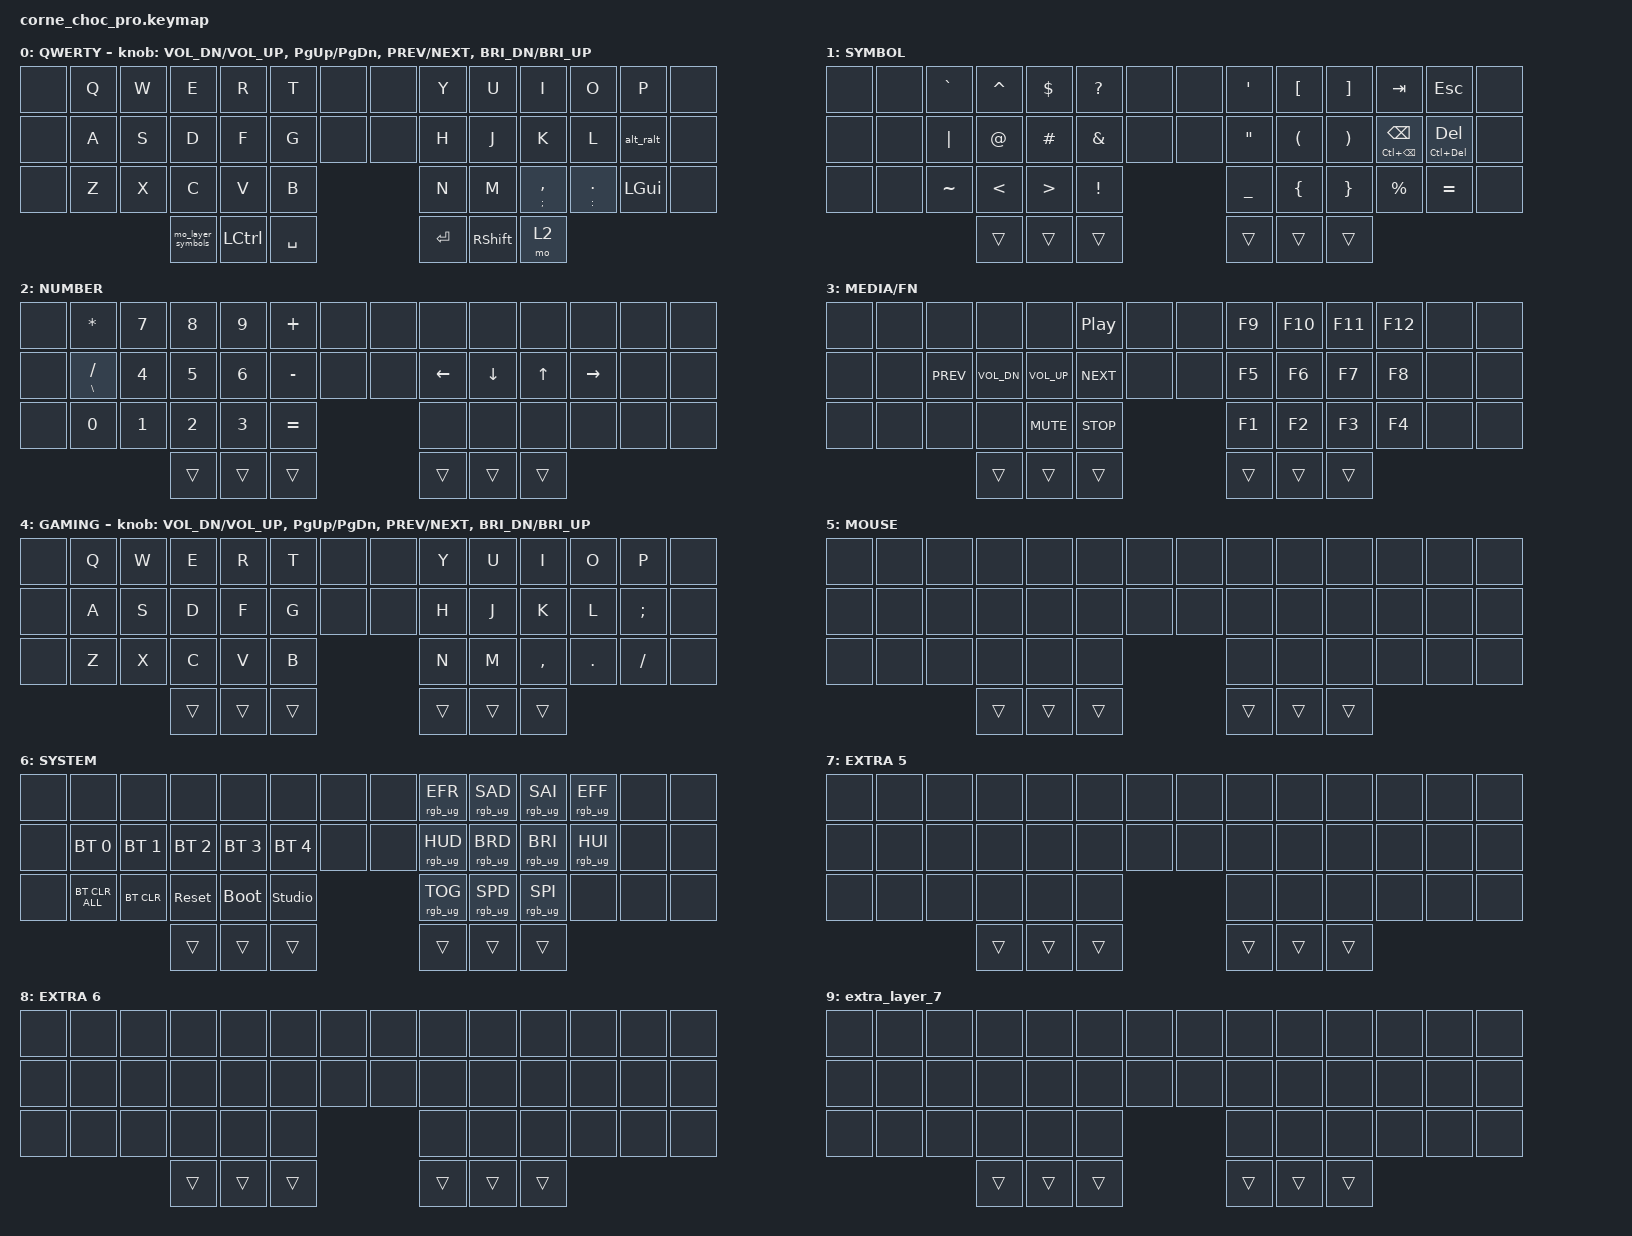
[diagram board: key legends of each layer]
/*
 * Copyright (c) 2020 The ZMK Contributors
 *
 * SPDX-License-Identifier: MIT
 */

#include <behaviors.dtsi>
#include <dt-bindings/zmk/bt.h>
#include <dt-bindings/zmk/keys.h>
#include <dt-bindings/zmk/rgb.h>

/ {
    chosen { zmk,physical-layout = &default_layout; };
};

/ {
    combos {
        compatible = "zmk,combos";

        tgl_layer_0 {
            bindings = <&to 0>;
            key-positions = <34 40 45>;
            layers = <0 1 2 3 4 5 6 7 8 9>;
        };

        tgl_layer_1 {
            bindings = <&to 1>;
            key-positions = <35 40 45>;
            layers = <0 1 2 3 4 5 6 7 8 9>;
        };

        tgl_layer_2 {
            bindings = <&to 2>;
            key-positions = <36 40 45>;
            layers = <0 1 2 3 4 5 6 7 8 9>;
        };

        tgl_layer_3 {
            bindings = <&to 3>;
            key-positions = <37 40 45>;
            layers = <0 1 2 3 4 5 6 7 8 9>;
        };

        tgl_layer_4 {
            bindings = <&to 4>;
            key-positions = <23 40 45>;
            layers = <0 1 2 3 4 5 6 7 8 9>;
        };

        tgl_layer_5 {
            bindings = <&to 5>;
            key-positions = <24 40 45>;
            layers = <0 1 2 3 4 5 6 7 8 9>;
        };

        tgl_layer_6 {
            bindings = <&to 6>;
            key-positions = <25 40 45>;
            layers = <0 1 2 3 4 5 6 7 8 9>;
        };

        tgl_layer_7 {
            bindings = <&to 7>;
            key-positions = <9 40 45>;
            layers = <0 1 2 3 4 5 6 7 8 9>;
        };

        tgl_layer_8 {
            bindings = <&to 8>;
            key-positions = <10 40 45>;
            layers = <0 1 2 3 4 5 6 7 8 9>;
        };

        tgl_layer_9 {
            bindings = <&to 9>;
            key-positions = <11 40 45>;
            layers = <0 1 2 3 4 5 6 7 8 9>;
        };

        esc {
            bindings = <&kp ESCAPE>;
            key-positions = <0 14>;
            layers = <0 1 2 3 4 5 6 7 8 9>;
            timeout-ms = <30>;
        };

        tab {
            bindings = <&kp TAB>;
            key-positions = <14 28>;
            layers = <0 1 2 3 4 5 6 7 8 9>;
            timeout-ms = <30>;
        };

        del_ctrl-deln {
            bindings = <&mt LC(DELETE) DELETE>;
            key-positions = <27 13>;
            layers = <0 1 2 3 4 5 6 7 8 9>;
            timeout-ms = <30>;
        };

        bckspc_ctrl-bckspc {
            bindings = <&mt LC(BACKSPACE) BACKSPACE>;
            key-positions = <27 39>;
            layers = <0 1 2 3 4 5 6 7 8 9>;
            timeout-ms = <30>;
        };
    };

    behaviors {
        alt_ralt: alt_ralt {
            compatible = "zmk,behavior-tap-dance";
            label = "ALT_RALT";
            #binding-cells = <0>;
            bindings = <&sk LEFT_ALT>, <&sk RIGHT_ALT>;

            tapping-term-ms = <400>;
        };

        mo_layer_symbols: mo_layer_symbols {
            compatible = "zmk,behavior-tap-dance";
            label = "MO_LAYER_SYMBOLS";
            #binding-cells = <0>;
            bindings = <&mo 1>, <&to 0>;

            tapping-term-ms = <400>;
        };

        h_left: h_left {
            compatible = "zmk,behavior-mod-morph";
            label = "H_LEFT";
            bindings = <&kp H>, <&kp LEFT_ARROW>;

            #binding-cells = <0>;
            mods = <(MOD_LCTL)>;
        };

        j_down: j_down {
            compatible = "zmk,behavior-mod-morph";
            label = "J_DOWN";
            bindings = <&kp J>, <&kp DOWN_ARROW>;

            #binding-cells = <0>;
            mods = <(MOD_LCTL)>;
        };

        k_up: k_up {
            compatible = "zmk,behavior-mod-morph";
            label = "K_UP";
            bindings = <&kp K>, <&kp UP_ARROW>;

            #binding-cells = <0>;
            mods = <(MOD_LCTL)>;
        };

        l_right: l_right {
            compatible = "zmk,behavior-mod-morph";
            label = "L_RIGHT";
            bindings = <&kp L>, <&kp RIGHT>;

            #binding-cells = <0>;
            mods = <(MOD_LCTL)>;
        };
    };

    keymap {
        compatible = "zmk,keymap";

        default_layer {
            display-name = "QWERTY";

            // --------------------------------------------------------------------------------
            // |  TAB |  Q  |  W  |  E  |  R  |  T  |  MUTE |  PP   |  Y  |  U   |  I  |  O  |  P  | BSPC |
            // | CTRL |  A  |  S  |  D  |  F  |  G  |  LALT |  RALT |  H  |  J   |  K  |  L  |  ;  |  '   |
            // | SHFT |  Z  |  X  |  C  |  V  |  B  |               |  N  |  M   |  ,  |  .  |  /  | ESC  |
            //                    | GUI | LWR | SPC |               | ENT | RSE  | ALT |

            bindings = <
&none  &kp Q  &kp W  &kp E              &kp R      &kp T      &none  &none  &kp Y    &kp U            &kp I                &kp O             &kp P         &none
&none  &kp A  &kp S  &kp D              &kp F      &kp G      &none  &none  &kp H    &kp J            &kp K                &kp L             &alt_ralt     &none
&none  &kp Z  &kp X  &kp C              &kp V      &kp B                    &kp N    &kp M            &mt SEMICOLON COMMA  &mt COLON PERIOD  &kp LEFT_GUI  &none
                     &mo_layer_symbols  &kp LCTRL  &kp SPACE                &kp RET  &kp RIGHT_SHIFT  &mo 2
            >;

            sensor-bindings = <&inc_dec_kp C_VOL_DN C_VOL_UP &inc_dec_kp PG_UP PG_DN &inc_dec_kp C_PREV C_NEXT &inc_dec_kp C_BRI_DN C_BRI_UP>;
        };

        raise_layer {
            display-name = "SYMBOL";

            // -----------------------------------------------------------------------------------------
            // |  TAB |  !  |  @  |  #  |  $  |  %  | LCTRL | RCTRL |  ^  |  &  |  *  |  (  |  )  | BSPC |
            // | CTRL |     |     |     |     |     |  LALT | RALT  |  -  |  =  |  [  |  ]  |  \  |  `   |
            // | SHFT |     |     |     |     |     |               |  _  |  +  |  {  |  }  | "|" |  ~   |
            //                    | GUI |     | SPC |               | ENT |     | ALT |

            bindings = <
&none  &none  &kp GRAVE  &kp CARET      &kp DLLR          &kp QUESTION     &none  &none  &kp SINGLE_QUOTE   &kp LEFT_BRACKET      &kp RIGHT_BRACKET      &kp TAB                      &kp ESCAPE             &none
&none  &none  &kp PIPE   &kp AT_SIGN    &kp HASH          &kp AMPS         &none  &none  &kp DOUBLE_QUOTES  &kp LEFT_PARENTHESIS  &kp RIGHT_PARENTHESIS  &mt LC(BACKSPACE) BACKSPACE  &mt LC(DELETE) DELETE  &none
&none  &none  &kp TILDE  &kp LESS_THAN  &kp GREATER_THAN  &kp EXCLAMATION                &kp UNDER          &kp LEFT_BRACE        &kp RIGHT_BRACE        &kp PERCENT                  &kp EQUAL              &none
                         &trans         &trans            &trans                         &trans             &trans                &trans
            >;
        };

        lower_layer {
            display-name = "NUMBER";

            // -----------------------------------------------------------------------------------------
            // |  TAB |  1  |  2  |  3  |  4  |  5    |  LCTRL | RCTRL |  6  |  7  |  8  |  9  |  0  | BSPC |
            // | CTRL | BT1 | BT2 | BT3 | BT4 | BT5   |  LALT  | RALT  | LFT | DWN |  UP | RGT |     |      |
            // | SHFT | BTCR| RGB | RST | BOOT| Unlock|        |       |     |     |     |     |     |      |
            //                    | GUI |     | SPC   |        | ENT   |     | ALT |

            bindings = <
&none  &kp ASTERISK         &kp NUMBER_7  &kp NUMBER_8  &kp NUMBER_9  &kp PLUS   &none  &none  &none           &none           &none         &none            &none  &none
&none  &mt BACKSLASH SLASH  &kp NUMBER_4  &kp NUMBER_5  &kp NUMBER_6  &kp MINUS  &none  &none  &kp LEFT_ARROW  &kp DOWN_ARROW  &kp UP_ARROW  &kp RIGHT_ARROW  &none  &none
&none  &kp NUMBER_0         &kp NUMBER_1  &kp NUMBER_2  &kp NUMBER_3  &kp EQUAL                &none           &none           &none         &none            &none  &none
                                          &trans        &trans        &trans                   &trans          &trans          &trans
            >;
        };

        extra_layer_1 {
            display-name = "MEDIA/FN";
            bindings = <
&none  &none  &none       &none         &none         &kp C_PLAY_PAUSE  &none  &none  &kp F9  &kp F10  &kp F11  &kp F12  &none  &none
&none  &none  &kp C_PREV  &kp C_VOL_DN  &kp C_VOL_UP  &kp C_NEXT        &none  &none  &kp F5  &kp F6   &kp F7   &kp F8   &none  &none
&none  &none  &none       &none         &kp C_MUTE    &kp C_STOP                      &kp F1  &kp F2   &kp F3   &kp F4   &none  &none
                          &trans        &trans        &trans                          &trans  &trans   &trans
            >;
        };

        extra_layer_2 {
            display-name = "GAMING";
            bindings = <
&none  &kp Q  &kp W  &kp E   &kp R   &kp T   &none  &none  &kp Y   &kp U   &kp I      &kp O    &kp P     &none
&none  &kp A  &kp S  &kp D   &kp F   &kp G   &none  &none  &kp H   &kp J   &kp K      &kp L    &kp SEMI  &none
&none  &kp Z  &kp X  &kp C   &kp V   &kp B                 &kp N   &kp M   &kp COMMA  &kp DOT  &kp FSLH  &none
                     &trans  &trans  &trans                &trans  &trans  &trans
            >;

            sensor-bindings =
                <&inc_dec_kp C_VOL_DN C_VOL_UP>,
                <&inc_dec_kp PG_UP PG_DN>,
                <&inc_dec_kp C_PREV C_NEXT>,
                <&inc_dec_kp C_BRI_DN C_BRI_UP>;
        };

        extra_layer_3 {
            display-name = "MOUSE";
            bindings = <
&none  &none  &none  &none   &none   &none   &none  &none  &none   &none   &none   &none  &none  &none
&none  &none  &none  &none   &none   &none   &none  &none  &none   &none   &none   &none  &none  &none
&none  &none  &none  &none   &none   &none                 &none   &none   &none   &none  &none  &none
                     &trans  &trans  &trans                &trans  &trans  &trans
            >;
        };

        extra_layer_4 {
            display-name = "SYSTEM";
            bindings = <
&none  &none           &none         &none         &none         &none           &none  &none  &rgb_ug RGB_EFR  &rgb_ug RGB_SAD  &rgb_ug RGB_SAI  &rgb_ug RGB_EFF  &none  &none
&none  &bt BT_SEL 0    &bt BT_SEL 1  &bt BT_SEL 2  &bt BT_SEL 3  &bt BT_SEL 4    &none  &none  &rgb_ug RGB_HUD  &rgb_ug RGB_BRD  &rgb_ug RGB_BRI  &rgb_ug RGB_HUI  &none  &none
&none  &bt BT_CLR_ALL  &bt BT_CLR    &sys_reset    &bootloader   &studio_unlock                &rgb_ug RGB_TOG  &rgb_ug RGB_SPD  &rgb_ug RGB_SPI  &none            &none  &none
                                     &trans        &trans        &trans                        &trans           &trans           &trans
            >;
        };

        extra_layer_5 {
            display-name = "EXTRA 5";
            bindings = <
&none  &none  &none  &none   &none   &none   &none  &none  &none   &none   &none   &none  &none  &none
&none  &none  &none  &none   &none   &none   &none  &none  &none   &none   &none   &none  &none  &none
&none  &none  &none  &none   &none   &none                 &none   &none   &none   &none  &none  &none
                     &trans  &trans  &trans                &trans  &trans  &trans
            >;
        };

        extra_layer_6 {
            display-name = "EXTRA 6";
            bindings = <
&none  &none  &none  &none   &none   &none   &none  &none  &none   &none   &none   &none  &none  &none
&none  &none  &none  &none   &none   &none   &none  &none  &none   &none   &none   &none  &none  &none
&none  &none  &none  &none   &none   &none                 &none   &none   &none   &none  &none  &none
                     &trans  &trans  &trans                &trans  &trans  &trans
            >;
        };

        extra_layer_7 {
            bindings = <
&none  &none  &none  &none   &none   &none   &none  &none  &none   &none   &none   &none  &none  &none
&none  &none  &none  &none   &none   &none   &none  &none  &none   &none   &none   &none  &none  &none
&none  &none  &none  &none   &none   &none                 &none   &none   &none   &none  &none  &none
                     &trans  &trans  &trans                &trans  &trans  &trans
            >;
        };
    };
};
